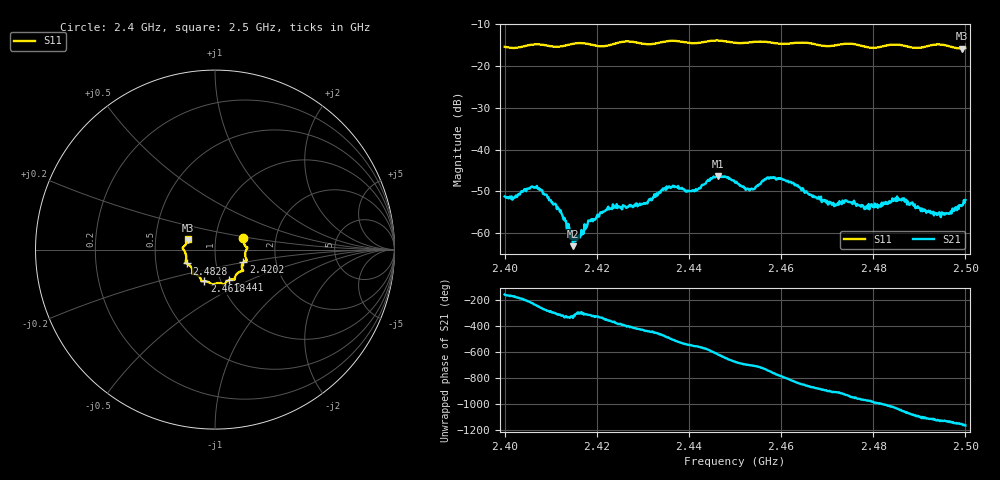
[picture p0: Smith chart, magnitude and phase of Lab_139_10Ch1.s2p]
# Hz S RI R 50
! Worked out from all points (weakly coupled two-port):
!   601 points, 2.4 GHz to 2.5 GHz, reference 50 ohm
!   highest |S21| = -46.31 dB at 2.4463 GHz (marker M1); lowest = -63.1 dB at 2.4148 GHz (marker M2)
!   lowest |S11| = -15.8 dB at 2.4993 GHz (marker M3), VSWR 1.38, Z = 36.6 + j3.84 ohm
!   |S11| at or under -10 dB: start of sweep to end of sweep
!   S12 and S22 are empty: the file has one direction only
!   S11 on the Smith chart (normalised r, x): 2.4 GHz: 1.36, +0.18; 2.4202 GHz: 1.36, -0.20; 2.441 GHz: 1.10, -0.39; 2.4618 GHz: 0.84, -0.30; 2.4828 GHz: 0.72, -0.12; 2.5 GHz: 0.73, +0.09
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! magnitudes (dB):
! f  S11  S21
! 2.4 GHz  -15.4  -51.2
! 2.4075 GHz  -14.9  -49.2
! 2.412 GHz  -15.4  -54.9
! 2.4148 GHz  -14.7  -63.1
! 2.4167 GHz  -14.5  -59.2
! 2.4202 GHz  -15.2  -55.5
! 2.4333 GHz  -14.5  -50.6
! 2.4362 GHz  -14.0  -49.1
! 2.441 GHz  -14.6  -49.7
! 2.4463 GHz  -13.9  -46.3
! 2.45 GHz  -14.5  -47.9
! 2.4528 GHz  -14.4  -49.4
! 2.4573 GHz  -14.3  -46.9
! 2.4618 GHz  -14.6  -47.8
! 2.4667 GHz  -14.6  -50.9
! 2.4715 GHz  -15.1  -53.5
! 2.4828 GHz  -15.1  -53.0
! 2.4833 GHz  -15.0  -52.7
! 2.4867 GHz  -15.2  -51.6
! 2.4942 GHz  -14.9  -55.2
! 2.4993 GHz  -15.8  -53.2
! 2.5 GHz  -15.7  -52.1
